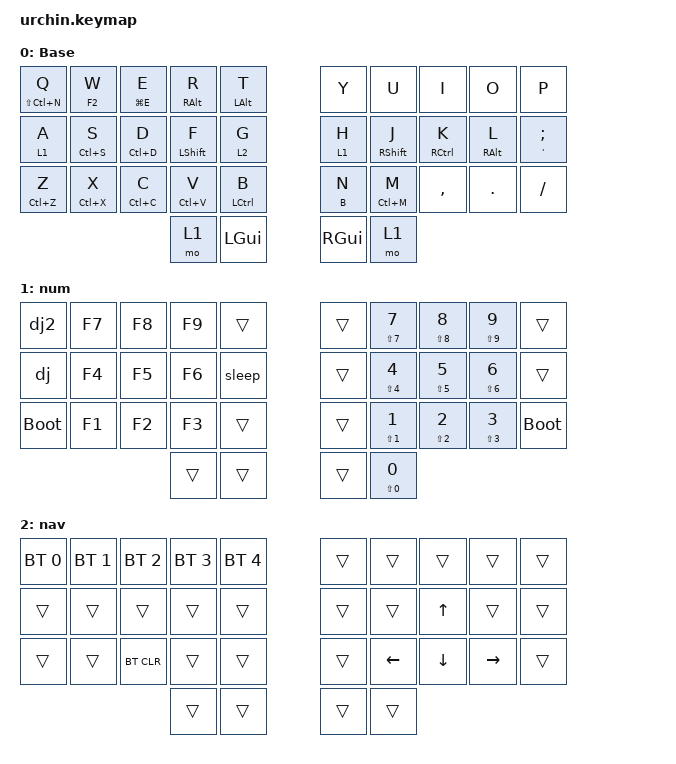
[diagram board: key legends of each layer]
/*
 * Copyright (c) 2020 duckyb
 *
 * SPDX-License-Identifier: MIT
 */

#define ZMK_POINTING_DEFAULT_MOVE_VAL 1200  // default: 600
#define ZMK_POINTING_DEFAULT_SCRL_VAL 20    // default: 10

#include <behaviors/battery_percentage_printer.dtsi>
#include <behaviors.dtsi>
#include <dt-bindings/zmk/bt.h>
#include <dt-bindings/zmk/keys.h>

// Layer definitions

#define BASE 0
#define NAV 1
#define MOUSE 2
#define EMACS 3
#define SYM 4
#define NUMB 5
#define FUNC 6

// -----------------

&sk {
    // don't release mods on other mods presses

    ignore-modifiers;
};

/ {
    behaviors {
        // Enables holding the first mod-tap key
        // by performing a tap-release-hold sequence.
        // To use it: "&qt KEYCODE1 KEYCODE2"

        qt: quick_tap {
            compatible = "zmk,behavior-hold-tap";
            label = "QUICK_TAP";
            #binding-cells = <2>;
            flavor = "hold-preferred";
            tapping-term-ms = <200>;
            quick-tap-ms = <200>;
            bindings = <&kp>, <&kp>;
        };

        hml: hml {
            compatible = "zmk,behavior-hold-tap";
            label = "HML";
            bindings = <&kp>, <&kp>;

            #binding-cells = <2>;
            tapping-term-ms = <200>;
            quick-tap-ms = <200>;
            require-prior-idle-ms = <100>;
            flavor = "tap-preferred";
            hold-trigger-on-release;
            hold-trigger-key-positions = <5 6 7 8 9 15 16 17 18 19 25 26 27 28 29 32 33>;
        };

        hmr: hmr {
            compatible = "zmk,behavior-hold-tap";
            label = "HMR";
            bindings = <&kp>, <&kp>;

            #binding-cells = <2>;
            tapping-term-ms = <200>;
            quick-tap-ms = <200>;
            require-prior-idle-ms = <100>;
            flavor = "tap-preferred";
            hold-trigger-on-release;
            hold-trigger-key-positions = <0 1 2 3 4 10 11 12 13 14 20 21 22 23 24 31 30>;
        };

        alt_tab_override: alt_tab_override {
            compatible = "zmk,behavior-mod-morph";
            label = "ALT_TAB_OVERRIDE";
            bindings = <&kp FSLH>, <&kp TAB>;

            #binding-cells = <0>;
            mods = <(MOD_LALT)>;
            keep-mods = <(MOD_LALT)>;
        };

        tap_dance: tap_dance {
            compatible = "zmk,behavior-hold-tap";
            label = "TAP_DANCE";
            bindings = <&kp>, <&kp>;

            #binding-cells = <2>;
            tapping-term-ms = <165>;
        };

        lt_repeat: lt_repeat {
            compatible = "zmk,behavior-hold-tap";
            label = "LT_REPEAT";
            bindings = <&mo>, <&kp>;

            #binding-cells = <2>;
            tapping-term-ms = <200>;
            quick-tap-ms = <200>;
            require-prior-idle-ms = <100>;
            flavor = "tap-preferred";
        };

        alt_tab_override2: alt_tab_override2 {
            compatible = "zmk,behavior-mod-morph";
            label = "ALT_TAB_OVERRIDE2";
            bindings = <&kp DOT>, <&kp TAB>;

            #binding-cells = <0>;
            mods = <(MOD_LALT)>;
            keep-mods = <(MOD_LALT)>;
        };

        to_tap: to_tap {
            compatible = "zmk,behavior-hold-tap";
            label = "TO_TAP";
            bindings = <&to>, <&kp>;

            #binding-cells = <2>;
            tapping-term-ms = <165>;
            quick-tap-ms = <165>;
            require-prior-idle-ms = <100>;
            flavor = "tap-preferred";
        };

        emacs_up: emacs_up {
            compatible = "zmk,behavior-mod-morph";
            label = "EMACS_UP";
            bindings = <&kp UP_ARROW>, <&kp LA(V)>;

            #binding-cells = <0>;
            mods = <(MOD_LSFT)>;
        };

        emacs_down: emacs_down {
            compatible = "zmk,behavior-mod-morph";
            label = "EMACS_DOWN";
            bindings = <&kp DOWN_ARROW>, <&kp LC(V)>;

            #binding-cells = <0>;
            mods = <(MOD_LSFT)>;
        };

        emacs_left: emacs_left {
            compatible = "zmk,behavior-mod-morph";
            label = "EMACS_LEFT";
            bindings = <&kp LEFT_ARROW>, <&kp RA(B)>;

            #binding-cells = <0>;
            mods = <(MOD_LSFT)>;
        };

        emacs_right: emacs_right {
            compatible = "zmk,behavior-mod-morph";
            label = "EMACS_RIGHT";
            bindings = <&kp RIGHT_ARROW>, <&kp RA(F)>;

            #binding-cells = <0>;
            mods = <(MOD_LSFT)>;
        };

        magic: magic {
            compatible = "zmk,behavior-adaptive-key";
            #binding-cells = <0>;
            bindings = <&kp SINGLE_QUOTE>;

            akt_ah {
                trigger-keys = <A>;
                max-prior-idle-ms = <1000>;
                bindings = <&kp O>;
            };

            akt_ch {
                trigger-keys = <C>;
                max-prior-idle-ms = <1000>;
                bindings = <&kp Y>;
            };

            akt_dh {
                trigger-keys = <D>;
                max-prior-idle-ms = <1000>;
                bindings = <&kp Y>;
            };

            akt_eh {
                trigger-keys = <E>;
                max-prior-idle-ms = <1000>;
                bindings = <&kp U>;
            };

            akt_gh {
                trigger-keys = <G>;
                max-prior-idle-ms = <1000>;
                bindings = <&kp Y>;
            };

            akt_di {
                trigger-keys = <I>;
                max-prior-idle-ms = <1000>;
                bindings = <&kp O &kp N>;
            };

            akt_dl {
                trigger-keys = <L>;
                max-prior-idle-ms = <1000>;
                bindings = <&kp K>;
            };

            akt_dm {
                trigger-keys = <M>;
                max-prior-idle-ms = <1000>;
                bindings = <&kp E &kp N &kp T>;
            };

            akt_dn {
                trigger-keys = <N>;
                max-prior-idle-ms = <1000>;
                bindings = <&kp I &kp O &kp N>;
            };

            akt_do {
                trigger-keys = <O>;
                max-prior-idle-ms = <1000>;
                bindings = <&kp A>;
            };

            akt_dp {
                trigger-keys = <P>;
                max-prior-idle-ms = <1000>;
                bindings = <&kp Y>;
            };

            akt_dq {
                trigger-keys = <Q>;
                max-prior-idle-ms = <1000>;
                bindings = <&kp U &kp E &kp N>;
            };

            akt_rh {
                trigger-keys = <R>;
                max-prior-idle-ms = <1000>;
                bindings = <&kp L>;
            };

            akt_ds {
                trigger-keys = <S>;
                max-prior-idle-ms = <1000>;
                bindings = <&kp K>;
            };

            akt_dt {
                trigger-keys = <T>;
                max-prior-idle-ms = <1000>;
                bindings = <&kp M &kp E &kp N &kp T>;
            };

            akt_du {
                trigger-keys = <U>;
                max-prior-idle-ms = <1000>;
                bindings = <&kp E>;
            };

            akt_dy {
                trigger-keys = <Y>;
                max-prior-idle-ms = <1000>;
                bindings = <&kp P>;
            };

            akt_dsp {
                trigger-keys = <SPACE>;
                max-prior-idle-ms = <1000>;
                bindings = <&kp T &kp H &kp E>;
            };

            akt_ddot {
                trigger-keys = <DOT>;
                max-prior-idle-ms = <1000>;
                bindings = <&kp DOT &kp SLASH>;
            };
        };

        hm_combo: hm_combo {
            compatible = "zmk,behavior-hold-tap";
            label = "HM_COMBO";
            bindings = <&kp>, <&kp>;

            #binding-cells = <2>;
            tapping-term-ms = <200>;
            quick-tap-ms = <200>;
            require-prior-idle-ms = <100>;
            flavor = "balanced";
            hold-trigger-on-release;
            hold-trigger-key-positions = <5 6 7 8 9 15 16 17 18 19 25 26 27 28 29 32 33 4 14 24 30 10 20 21 22 23 24 30 31 0 1 2 3 11 12 13>;
        };

        new_behavior: new_behavior {
            compatible = "zmk,behavior-hold-tap";
            label = "NEW_BEHAVIOR";
            bindings = <&kp>, <&kp>;

            #binding-cells = <2>;
            tapping-term-ms = <200>;
            quick-tap-ms = <200>;
            require-prior-idle-ms = <100>;
            flavor = "balanced";
            hold-trigger-on-release;
        };
    };

    macros {
        // sometimes my device thinks a modifier is being held down
        // pressing all modifiers fixes it.

        dj: dj {
            compatible = "zmk,behavior-macro";
            #binding-cells = <0>;
            bindings = <&kp I &kp O &kp P &kp ASTERISK &kp NUMBER_6 &kp NUMBER_4 &kp NUMBER_3 &kp N5 &kp NUMBER_1 &kp N8 &kp ENTER>;
            label = "DJ";
        };

        dj2: dj2 {
            compatible = "zmk,behavior-macro";
            #binding-cells = <0>;
            bindings = <&kp NUMBER_3 &kp N5 &kp NUMBER_1 &kp N8>;
            label = "DJ2";
        };

        sleep: sleep {
            compatible = "zmk,behavior-macro";
            #binding-cells = <0>;
            bindings = <&kp LG(X) &kp U &kp S>;
            label = "SLEEP";
            wait-ms = <1000>;
        };
    };

    combos {
        compatible = "zmk,combos";

        // both right thumb keys
        // internal-left & external-right thumb keys
        // both left thumb keys
        // left index & middle fingers (home-row)
        // hold control & space for Adobe workflow

        esc {
            bindings = <&hm_combo DEL ESCAPE>;
            key-positions = <0 1>;
        };

        ex {
            bindings = <&kp EXCLAMATION>;
            key-positions = <15 16>;
        };

        slash_quet {
            bindings = <&kp LS(SLASH)>;
            key-positions = <16 25>;
        };

        minus {
            bindings = <&kp MINUS>;
            key-positions = <3 12>;
        };

        plus {
            bindings = <&kp EQUAL>;
            key-positions = <3 2>;
        };

        space_l {
            bindings = <&kp SPACE>;
            key-positions = <12 13>;
        };

        enter_l {
            bindings = <&kp ENTER>;
            key-positions = <11 12>;
        };

        enter_r {
            bindings = <&kp ENTER>;
            key-positions = <17 18>;
        };

        brace_r {
            bindings = <&hm_combo RIGHT_BRACKET RIGHT_PARENTHESIS>;
            key-positions = <17 8>;
        };

        brace_l {
            bindings = <&hm_combo LEFT_BRACKET LEFT_PARENTHESIS>;
            key-positions = <1 12>;
        };

        tap {
            bindings = <&kp TAB>;
            key-positions = <2 13>;
        };

        grave {
            bindings = <&kp GRAVE>;
            key-positions = <2 11>;
        };

        del_l {
            bindings = <&kp DEL>;
            key-positions = <24 13>;
        };

        del_r {
            bindings = <&kp DEL>;
            key-positions = <16 25>;
        };

        capture {
            bindings = <&kp LG(LS(S))>;
            key-positions = <4 3>;
        };

        vup {
            bindings = <&kp C_VOLUME_UP>;
            key-positions = <27 28>;
        };

        vdn {
            bindings = <&kp C_VOLUME_DOWN>;
            key-positions = <27 26>;
        };

        mute {
            bindings = <&kp K_MUTE>;
            key-positions = <26 28>;
        };

        wintab {
            bindings = <&kp LG(TAB)>;
            key-positions = <2 13 24>;
        };

        caps {
            bindings = <&kp CAPSLOCK>;
            key-positions = <10 11>;
        };

        num1 {
            bindings = <&kp NUMBER_1>;
            key-positions = <24 0>;
        };

        num2 {
            bindings = <&kp NUMBER_2>;
            key-positions = <24 1>;
        };

        num3 {
            bindings = <&kp NUMBER_3>;
            key-positions = <24 2>;
        };

        num4 {
            bindings = <&kp NUMBER_4>;
            key-positions = <24 3>;
        };

        num5 {
            bindings = <&kp N5>;
            key-positions = <24 4>;
        };

        num6 {
            bindings = <&kp NUMBER_6>;
            key-positions = <0 23>;
        };

        num7 {
            bindings = <&kp N7>;
            key-positions = <1 23>;
        };

        num8 {
            bindings = <&kp N8>;
            key-positions = <2 23>;
        };

        num9 {
            bindings = <&kp N9>;
            key-positions = <3 23>;
        };

        num0 {
            bindings = <&kp N0>;
            key-positions = <4 23>;
        };

        workman {
            bindings = <&kp LS(LC(ESC))>;
            key-positions = <24 1 0>;
        };

        altfb4 {
            bindings = <&kp LA(F4)>;
            key-positions = <24 3 2>;
        };

        wind {
            bindings = <&kp LG(D)>;
            key-positions = <24 3 4>;
        };

        back {
            bindings = <&kp BACKSPACE>;
            key-positions = <16 17>;
        };

        backl {
            bindings = <&kp BACKSPACE>;
            key-positions = <22 13>;
        };

        vol_down {
            bindings = <&kp C_VOL_DN>;
            key-positions = <21 22>;
        };

        vol_up {
            bindings = <&kp C_VOL_UP>;
            key-positions = <22 23>;
        };

        mute_left {
            bindings = <&kp K_MUTE>;
            key-positions = <23 21>;
        };
    };

    keymap {
        compatible = "zmk,keymap";

        // Base alpha layer

        default_layer {
            label = "Base";
            bindings = <
&hml LS(LC(N)) Q  &hml F2 W     &hml LG(E) E  &hml RIGHT_ALT R   &hml LEFT_ALT T  &kp Y          &kp U               &kp I         &kp O             &kp P
&lt 1 A           &hml LC(S) S  &hml LC(D) D  &hml LEFT_SHIFT F  &lt 2 G          &lt 1 H        &hmr RIGHT_SHIFT J  &hmr RCTRL K  &hmr RIGHT_ALT L  &hmr SQT SEMI
&hml LC(Z) Z      &hml LC(X) X  &hml LC(C) C  &hml LC(V) V       &hml LCTRL B     &hmr B N       &hmr LC(M) M        &kp COMMA     &kp DOT           &kp FSLH
                                              &mo 1              &kp LEFT_GUI     &kp RIGHT_GUI  &mo 1
            >;
        };

        // Numbers and high frequency symbols
        // Mouse
        // Emacs navigation aid
        // Symbols
        // Numbers
        // Function layer

        num {
            bindings = <
&dj2         &kp F7  &kp F8  &kp F9  &trans  &trans  &hmr LS(N7) N7              &hmr LS(N8) N8              &hmr LS(N9) N9        &trans
&dj          &kp F4  &kp F5  &kp F6  &sleep  &trans  &hmr LS(N4) NUMBER_4        &hmr LS(N5) N5              &hmr LS(N6) NUMBER_6  &trans
&bootloader  &kp F1  &kp F2  &kp F3  &trans  &trans  &hmr LS(NUMBER_1) NUMBER_1  &hmr LS(NUMBER_2) NUMBER_2  &hml LS(N3) NUMBER_3  &bootloader
                             &trans  &trans  &trans  &hmr LS(N0) N0
            >;
        };

        nav {
            bindings = <
&bt BT_SEL 0  &bt BT_SEL 1  &bt BT_SEL 2  &bt BT_SEL 3  &bt BT_SEL 4  &trans  &trans    &trans        &trans     &trans
&trans        &trans        &trans        &trans        &trans        &trans  &trans    &kp UP_ARROW  &trans     &trans
&trans        &trans        &bt BT_CLR    &trans        &trans        &trans  &kp LEFT  &kp DOWN      &kp RIGHT  &trans
                                          &trans        &trans        &trans  &trans
            >;
        };
    };

    conditional_layers { compatible = "zmk,conditional-layers"; };
};
